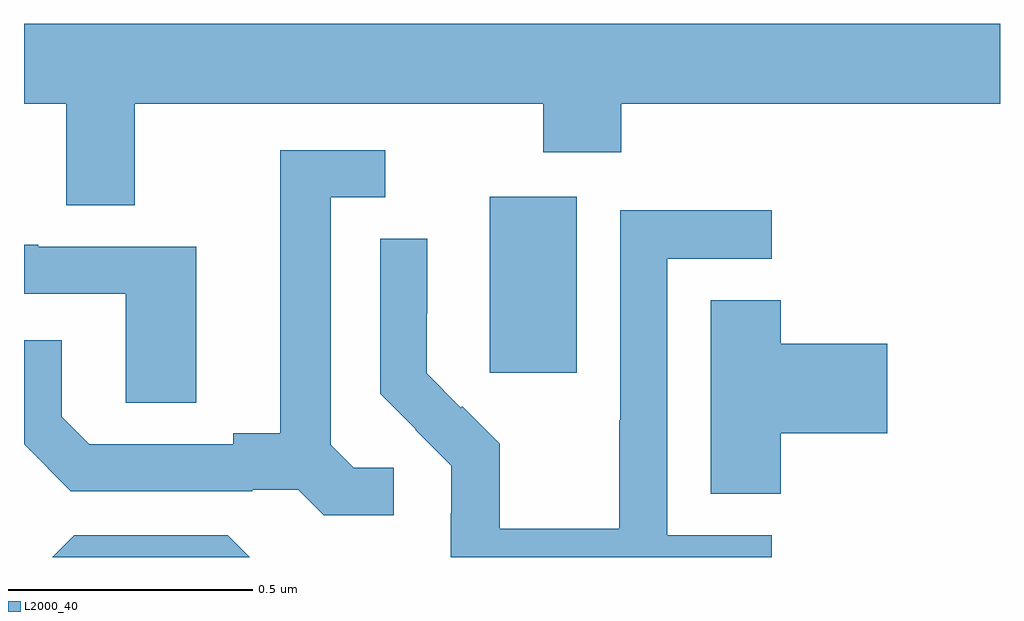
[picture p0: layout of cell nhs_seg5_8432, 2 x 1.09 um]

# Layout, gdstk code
import gdstk
lib = gdstk.Library(unit=1e-6, precision=1e-09)
def R(c, l, rs):  # rectangles x0, y0, x1, y1
    for r in rs: c.add(gdstk.rectangle(r[:2], r[2:], *l))
def P(c, l, *ps):  # polygons
    for p in ps: c.add(gdstk.Polygon(p, *l))
L2000_40 = (2000, 40)

nhs_seg5_8432 = lib.new_cell('nhs_seg5_8432')
R(nhs_seg5_8432, L2000_40, [(221.954,888.177,222.133,888.538)])
P(nhs_seg5_8432, L2000_40, [(221.227,888.728),(222.064,888.728),(222.064,888.629),(222.224,888.629),(222.224,888.728),(223,888.728),(223,888.892),(221,888.892),(221,888.728),(221.087,888.728),(221.087,888.52),(221.227,888.52)],
  [(221.758,887.982),(221.676,887.982),(221.629,888.029),(221.629,888.537),(221.74,888.537),(221.74,888.633),(221.525,888.633),(221.525,888.053),(221.429,888.053),(221.429,888.03),(221.134,888.03),(221.077,888.087),(221.077,888.244),(221,888.244),(221,888.03),(221.096,887.934),(221.468,887.934),(221.468,887.937),(221.562,887.937),(221.614,887.885),(221.758,887.885)],
  [(222.532,887.844),(222.318,887.844),(222.318,888.411),(222.532,888.411),(222.532,888.51),(222.222,888.51),(222.222,888.08),(222.22,888.08),(222.22,887.857),(221.975,887.857),(221.975,888.031),(221.898,888.108),(221.895,888.105),(221.825,888.176),(221.825,888.298),(221.826,888.298),(221.826,888.452),(221.73,888.452),(221.73,888.134),(221.803,888.061),(221.802,888.06),(221.876,887.986),(221.876,887.889),(221.874,887.889),(221.874,887.799),(222.532,887.799)],
  [(221.353,888.435),(221.029,888.435),(221.029,888.439),(221,888.439),(221,888.339),(221.208,888.339),(221.208,888.115),(221.353,888.115)],
  [(222.551,888.053),(222.769,888.053),(222.769,888.236),(222.551,888.236),(222.551,888.326),(222.407,888.326),(222.407,887.929),(222.551,887.929)],
  [(221.418,887.844),(221.103,887.844),(221.058,887.799),(221.463,887.799)])

lib.write_gds('nhs_seg5_8432.gds')
